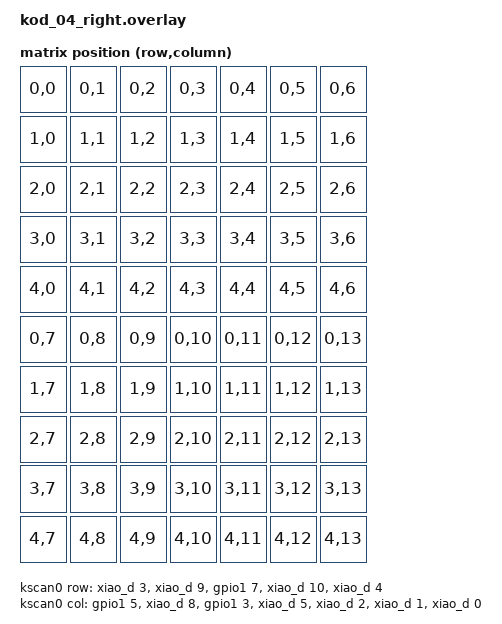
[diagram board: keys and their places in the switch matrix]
/*
 * Copyright (c) 2024 kodomari
 * SPDX-License-Identifier: MIT
 */
#include "kod_04.dtsi"
#include <zephyr/dt-bindings/pinctrl/nrf-pinctrl.h>

&xiao_spi { status = "disabled"; };
&xiao_i2c { status = "disabled"; };
&xiao_serial { status = "disabled"; };

/* uart0 を PS/2 用に使う。
 * 読み時:
 *   RX = D6 (P1.11) へ割り当て
 *   TX = 未使用ピンへ逃がす
 *
 * 書き時:
 *   sleep state にして UART から DATA pin を解放し、
 *   GPIO bit-bang に切り替える
 */
&pinctrl {
    uart0_ps2_default: uart0_ps2_default {
        group1 {
            psels = <
                NRF_PSEL(UART_TX, 0, 30)   /* unused TX */
                NRF_PSEL(UART_RX, 1, 11)   /* D6 = P1.11 = DATA */
            >;
        };
    };

    uart0_ps2_sleep: uart0_ps2_sleep {
        group1 {
            psels = <
                NRF_PSEL(UART_TX, 0, 30)   /* unused TX */
                NRF_PSEL(UART_RX, 0, 31)   /* unused RX */
            >;
            low-power-enable;
        };
    };
};

&uart0 {
    compatible = "nordic,nrf-uarte";
    status = "okay";
    current-speed = <14400>;
    pinctrl-0 = <&uart0_ps2_default>;
    pinctrl-1 = <&uart0_ps2_sleep>;
    pinctrl-names = "default", "sleep";

    uart_ps2: uart_ps2 {
        compatible = "uart-ps2";
        status = "okay";
        scl-gpios = <&xiao_d 7 GPIO_OPEN_DRAIN>; /* CLK = D7 = P1.12 */
        sda-gpios = <&xiao_d 6 GPIO_OPEN_DRAIN>; /* DATA = D6 = P1.11 */
    };
};

/ {
    mouse_ps2: mouse_ps2 {
        compatible = "zmk,input-mouse-ps2";
        status = "okay";
        ps2-device = <&uart_ps2>;

        /* P1.01 を直指定 */
        rst-gpios = <&gpio1 1 GPIO_ACTIVE_LOW>;

        /* 最初は最小構成でよいが、今までの値を使うなら残してよい */
        tp-sensitivity = <100>;
    };

    ps2_listener: ps2_listener {
        compatible = "zmk,input-listener";
        device = <&mouse_ps2>;
    };

    kscan0: kscan {
        compatible = "zmk,kscan-gpio-matrix";
        wakeup-source;
        diode-direction = "col2row";
        row-gpios
          = <&xiao_d 3  (GPIO_ACTIVE_HIGH | GPIO_PULL_DOWN)>
          , <&xiao_d 9  (GPIO_ACTIVE_HIGH | GPIO_PULL_DOWN)>
          , <&gpio1 7   (GPIO_ACTIVE_HIGH | GPIO_PULL_DOWN)>
          , <&xiao_d 10 (GPIO_ACTIVE_HIGH | GPIO_PULL_DOWN)>
          , <&xiao_d 4  (GPIO_ACTIVE_HIGH | GPIO_PULL_DOWN)>
          ;
        col-gpios
          = <&gpio1 5 GPIO_ACTIVE_HIGH>
          , <&xiao_d 8 GPIO_ACTIVE_HIGH>
          , <&gpio1 3 GPIO_ACTIVE_HIGH>
          , <&xiao_d 5 GPIO_ACTIVE_HIGH>   /* もとの D7 を D5 に移設 */
          , <&xiao_d 2 GPIO_ACTIVE_HIGH>
          , <&xiao_d 1 GPIO_ACTIVE_HIGH>
          , <&xiao_d 0 GPIO_ACTIVE_HIGH>
          ;
    };

    chosen {
        zmk,matrix-transform = &default_transform;
    };

    default_transform: keymap_transform_0 {
        compatible = "zmk,matrix-transform";
        columns = <14>;
        rows = <5>;
        col-offset = <7>;
        map = <
            RC(0,0) RC(0,1) RC(0,2) RC(0,3) RC(0,4) RC(0,5) RC(0,6)
            RC(1,0) RC(1,1) RC(1,2) RC(1,3) RC(1,4) RC(1,5) RC(1,6)
            RC(2,0) RC(2,1) RC(2,2) RC(2,3) RC(2,4) RC(2,5) RC(2,6)
            RC(3,0) RC(3,1) RC(3,2) RC(3,3) RC(3,4) RC(3,5) RC(3,6)
            RC(4,0) RC(4,1) RC(4,2) RC(4,3) RC(4,4) RC(4,5) RC(4,6)
            RC(0,7) RC(0,8) RC(0,9) RC(0,10) RC(0,11) RC(0,12) RC(0,13)
            RC(1,7) RC(1,8) RC(1,9) RC(1,10) RC(1,11) RC(1,12) RC(1,13)
            RC(2,7) RC(2,8) RC(2,9) RC(2,10) RC(2,11) RC(2,12) RC(2,13)
            RC(3,7) RC(3,8) RC(3,9) RC(3,10) RC(3,11) RC(3,12) RC(3,13)
            RC(4,7) RC(4,8) RC(4,9) RC(4,10) RC(4,11) RC(4,12) RC(4,13)
        >;
    };
};
&msc_input_listener {
    status = "okay";
};
